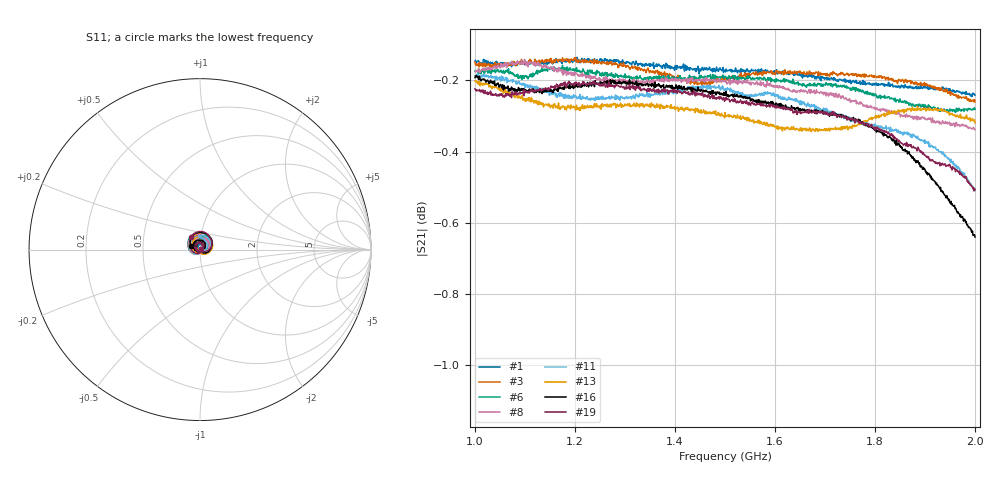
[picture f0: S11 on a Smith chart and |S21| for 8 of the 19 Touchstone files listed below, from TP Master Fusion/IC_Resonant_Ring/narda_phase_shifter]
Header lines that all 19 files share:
#  HZ  S  DB  R  50.00
! Rohde & Schwarz Vector Network Analyzer
! Rohde-Schwarz,ZNB8-4Port,1311601044102961,2.82
! freq[Hz]  db:S11  ang:S11  db:S21  ang:S21  db:S12  ang:S12  db:S22  ang:S22
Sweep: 1 GHz to 2 GHz
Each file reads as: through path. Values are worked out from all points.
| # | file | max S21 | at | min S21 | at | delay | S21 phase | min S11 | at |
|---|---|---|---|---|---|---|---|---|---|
| 1 | narda_phase_shifter_000.s2p | -0.13 dB | 1.204 GHz | -0.2 dB | 1.994 GHz | 1.4 ns | -35 deg at 1.5 GHz | -57.0 dB | 1.617 GHz |
| 2 | narda_phase_shifter_010.s2p | -0.14 dB | 1.208 GHz | -0.3 dB | 1.99 GHz | 1.43 ns | -50 deg at 1.5 GHz | -54.6 dB | 1.606 GHz |
| 3 | narda_phase_shifter_020.s2p | -0.14 dB | 1.201 GHz | -0.3 dB | 1.998 GHz | 1.45 ns | -65 deg at 1.5 GHz | -56.8 dB | 1.22 GHz |
| 4 | narda_phase_shifter_030.s2p | -0.15 dB | 1.112 GHz | -0.3 dB | 1.998 GHz | 1.48 ns | -80 deg at 1.5 GHz | -68.5 dB | 1.625 GHz |
| 5 | narda_phase_shifter_040.s2p | -0.16 dB | 1.066 GHz | -0.3 dB | 1.993 GHz | 1.51 ns | -95 deg at 1.5 GHz | -52.4 dB | 1.64 GHz |
| 6 | narda_phase_shifter_050.s2p | -0.16 dB | 1.175 GHz | -0.3 dB | 1.961 GHz | 1.54 ns | -110 deg at 1.5 GHz | -44.7 dB | 1.569 GHz |
| 7 | narda_phase_shifter_060.s2p | -0.15 dB | 1.101 GHz | -0.3 dB | 1.987 GHz | 1.57 ns | -125 deg at 1.5 GHz | -46.1 dB | 1.115 GHz |
| 8 | narda_phase_shifter_070.s2p | -0.14 dB | 1.099 GHz | -0.3 dB | 2 GHz | 1.59 ns | -140 deg at 1.5 GHz | -46.7 dB | 1.091 GHz |
| 9 | narda_phase_shifter_080.s2p | -0.14 dB | 1.054 GHz | -0.3 dB | 2 GHz | 1.62 ns | -155 deg at 1.5 GHz | -44.9 dB | 1.071 GHz |
| 10 | narda_phase_shifter_090.s2p | -0.14 dB | 1.021 GHz | -0.4 dB | 2 GHz | 1.65 ns | -170 deg at 1.5 GHz | -43.9 dB | 1.05 GHz |
| 11 | narda_phase_shifter_100.s2p | -0.18 dB | 1.005 GHz | -0.5 dB | 2 GHz | 1.68 ns | 175 deg at 1.5 GHz | -46.4 dB | 1.034 GHz |
| 12 | narda_phase_shifter_110.s2p | -0.15 dB | 1.004 GHz | -0.5 dB | 2 GHz | 1.71 ns | 160 deg at 1.5 GHz | -48.8 dB | 1.009 GHz |
| 13 | narda_phase_shifter_120.s2p | -0.20 dB | 1.002 GHz | -0.3 dB | 1.672 GHz | 1.73 ns | 144 deg at 1.5 GHz | -43.1 dB | 1.472 GHz |
| 14 | narda_phase_shifter_130.s2p | -0.20 dB | 1.001 GHz | -0.5 dB | 1.7 GHz | 1.76 ns | 129 deg at 1.5 GHz | -52.3 dB | 1.846 GHz |
| 15 | narda_phase_shifter_140.s2p | -0.26 dB | 1.002 GHz | -0.4 dB | 1.999 GHz | 1.78 ns | 115 deg at 1.5 GHz | -51.1 dB | 1.815 GHz |
| 16 | narda_phase_shifter_150.s2p | -0.19 dB | 1.003 GHz | -0.6 dB | 2 GHz | 1.82 ns | 99 deg at 1.5 GHz | -51.3 dB | 1.42 GHz |
| 17 | narda_phase_shifter_160.s2p | -0.21 dB | 1.288 GHz | -0.4 dB | 2 GHz | 1.84 ns | 84 deg at 1.5 GHz | -61.3 dB | 1.423 GHz |
| 18 | narda_phase_shifter_170.s2p | -0.22 dB | 1 GHz | -0.8 dB | 2 GHz | 1.88 ns | 69 deg at 1.5 GHz | -49.4 dB | 1.668 GHz |
| 19 | narda_phase_shifter_180.s2p | -0.20 dB | 1.188 GHz | -0.5 dB | 1.998 GHz | 1.9 ns | 54 deg at 1.5 GHz | -76.3 dB | 1.271 GHz |
